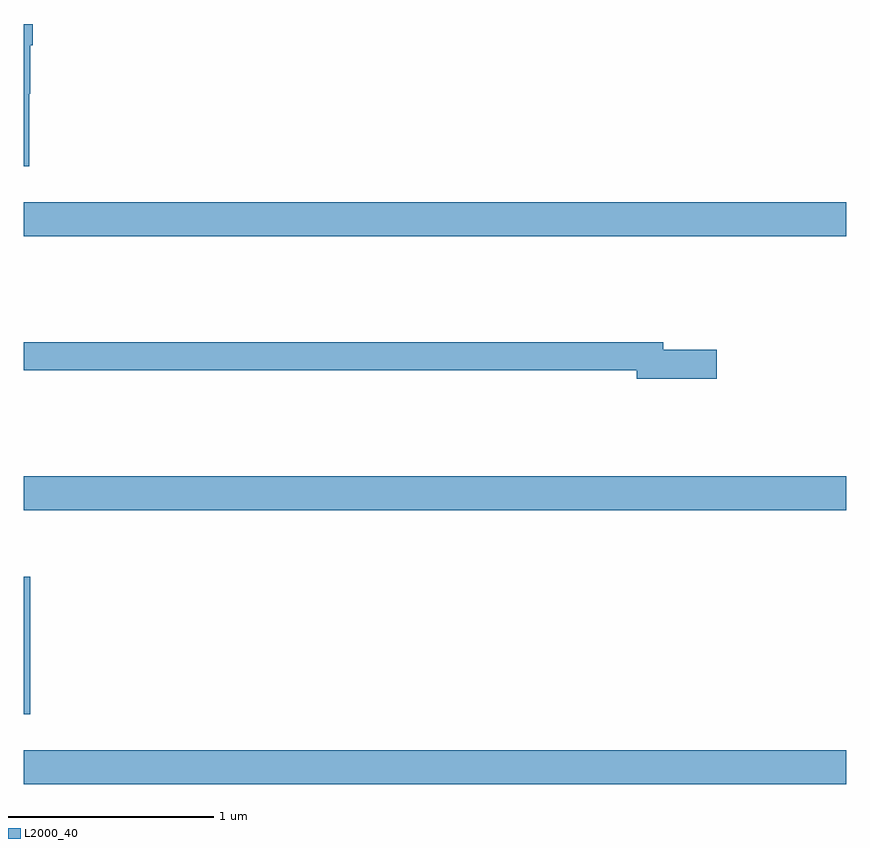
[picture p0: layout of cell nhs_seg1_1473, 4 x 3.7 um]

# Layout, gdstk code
import gdstk
lib = gdstk.Library(unit=1e-6, precision=1e-09)
def R(c, l, rs):  # rectangles x0, y0, x1, y1
    for r in rs: c.add(gdstk.rectangle(r[:2], r[2:], *l))
def A(c, l, x, y, w, h, nx, ny, dx, dy):  # array of equal rectangles
    R(c, l, [(x+i*dx, y+j*dy, x+i*dx+w, y+j*dy+h) for i in range(nx) for j in range(ny)])
def P(c, l, *ps):  # polygons
    for p in ps: c.add(gdstk.Polygon(p, *l))
L2000_40 = (2000, 40)

nhs_seg1_1473 = lib.new_cell('nhs_seg1_1473')
A(nhs_seg1_1473, L2000_40, 191, 550.4, 4, 0.164, 1, 3, 0, 1.332)
R(nhs_seg1_1473, L2000_40, [(191,550.74,191.032,551.407)])
P(nhs_seg1_1473, L2000_40, [(191.027,553.755),(191.032,553.755),(191.032,553.991),(191.045,553.991),(191.045,554.095),(191,554.095),(191,553.404),(191.027,553.404)],
  [(194.371,552.512),(194.11,552.512),(194.11,552.548),(191,552.548),(191,552.412),(193.982,552.412),(193.982,552.37),(194.371,552.37)])

lib.write_gds('nhs_seg1_1473.gds')
